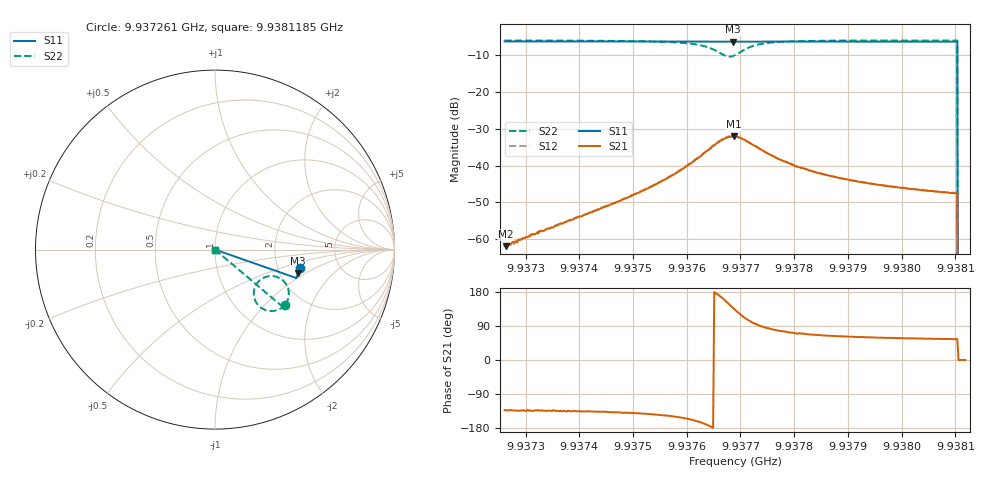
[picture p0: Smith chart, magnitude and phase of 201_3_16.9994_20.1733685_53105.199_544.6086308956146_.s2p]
#  HZ  S  RI  R  50.00
! Rohde & Schwarz Vector Network Analyzer
! Rohde-Schwarz,ZNB20-2Port,1311601062101988,3.16
! Created: UTC 3/20/2024, 11:01:04 PM
! freq[Hz]  re:S11  im:S11  re:S21  im:S21  re:S12  im:S12  re:S22  im:S22
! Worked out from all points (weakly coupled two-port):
!   401 points, 9.937261 GHz to 9.9381185 GHz, reference 50 ohm
!   highest |S21| = -32.09 dB at 9.9376876 GHz (marker M1); lowest = -61.9 dB at 9.9372632 GHz (marker M2)
!   lowest |S11| = -6.4 dB at 9.9376855 GHz (marker M3), VSWR 2.84, Z = 125 - j42.4 ohm
!   |S11| at or under -10 dB: 9.9381036 GHz to end of sweep
!   |S22| runs from - to -6.0 dB; largest |S21 - S12| = 0.001
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9.93726105e9  0.4723 -0.1041  -0.000548 -0.000606  -0.000564 -0.000572  0.3911 -0.3078
9.93726319e9  0.4723 -0.1042  -0.000545 -0.00059  -0.000548 -0.000606  0.391 -0.308
9.93740468e9  0.4694 -0.1137  -0.00146 -0.00142  -0.0015 -0.00144  0.3763 -0.3207
9.93749257e9  0.4675 -0.1197  -0.00286 -0.00241  -0.00294 -0.00242  0.3598 -0.331
9.93754831e9  0.4661 -0.1236  -0.00475 -0.00336  -0.00491 -0.00334  0.3405 -0.3386
9.93759547e9  0.4646 -0.1267  -0.00831 -0.00415  -0.00854 -0.0041  0.3086 -0.3422
9.93763405e9  0.4629 -0.1293  -0.0147 -0.0029  -0.0151 -0.00262  0.2574 -0.3245
9.9376512e9  0.4622 -0.1302  -0.0188 0.000289  -0.0192 0.000829  0.2283 -0.2923
9.93766621e9  0.4614 -0.1305  -0.0214 0.00633  -0.0218 0.00722  0.2158 -0.2406
9.93767693e9  0.4609 -0.1305  -0.021 0.0122  -0.0211 0.0131  0.2292 -0.1957
9.9376855e9  0.4607 -0.1305  -0.0185 0.0164  -0.0181 0.0174  0.2555 -0.1662
9.93768765e9  0.4611 -0.1305  -0.0177 0.0175  -0.0173 0.0183  0.2637 -0.1611
9.93768979e9  0.461 -0.1307  -0.0167 0.0181  -0.0163 0.0189  0.2726 -0.1564
9.93771337e9  0.4617 -0.1317  -0.00586 0.02  -0.00524 0.0206  0.3598 -0.1588
9.9377391e9  0.4621 -0.1336  0.000275 0.0163  0.000717 0.0163  0.4006 -0.2005
9.93777768e9  0.4615 -0.1366  0.00287 0.0113  0.00323 0.0113  0.4113 -0.2448
9.93783342e9  0.4604 -0.1406  0.00325 0.00768  0.00343 0.00766  0.4066 -0.2765
9.93789559e9  0.4587 -0.1449  0.00305 0.00575  0.0032 0.00573  0.3992 -0.2943
9.93797705e9  0.4568 -0.1503  0.00273 0.00444  0.00287 0.00445  0.3908 -0.3079
9.93809924e9  0.4536 -0.1582  0.00241 0.00346  0.00248 0.00344  0.381 -0.3209
9.93810996e9  0 0  0 0  0 0  0 0
9.93811854e9  0 0  0 0  0 0  0 0
